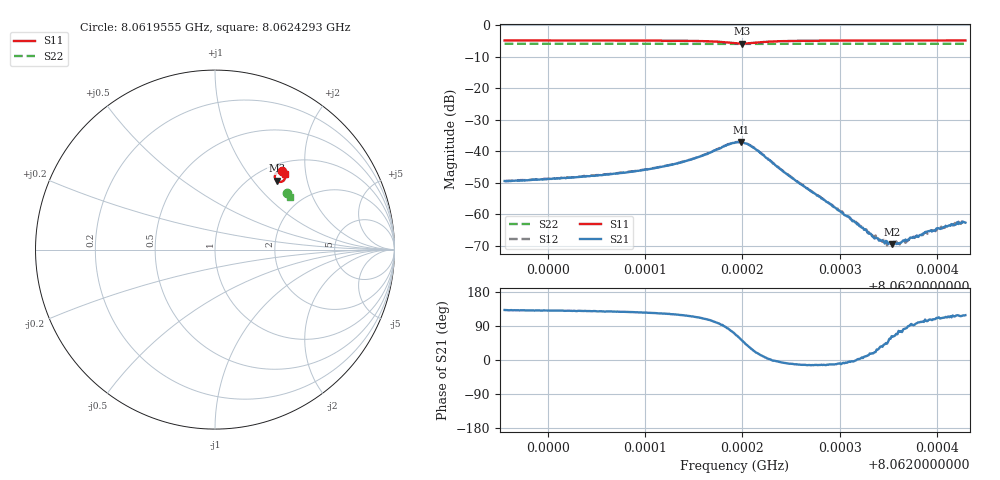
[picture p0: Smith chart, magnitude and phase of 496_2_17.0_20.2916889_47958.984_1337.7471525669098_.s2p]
#  HZ  S  RI  R  50.00
! Rohde & Schwarz Vector Network Analyzer
! Rohde-Schwarz,ZNB20-2Port,1311601062101988,3.16
! Created: UTC 3/20/2024, 11:14:18 PM
! freq[Hz]  re:S11  im:S11  re:S21  im:S21  re:S12  im:S12  re:S22  im:S22
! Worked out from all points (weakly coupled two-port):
!   401 points, 8.0619555 GHz to 8.0624293 GHz, reference 50 ohm
!   highest |S21| = -37.05 dB at 8.0621983 GHz (marker M1); lowest = -69.6 dB at 8.0623535 GHz (marker M2)
!   lowest |S11| = -5.8 dB at 8.0621995 GHz (marker M3), VSWR 3.12, Z = 63.6 + j66.4 ohm
!   |S11| at or under -10 dB: nowhere
!   |S22| runs from -5.9 to -5.8 dB; largest |S21 - S12| = 0.00093
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8.06195546e9  0.374 0.4382  -0.00226 0.00251  -0.00208 0.00266  0.4023 0.3141
8.06203483e9  0.3803 0.4322  -0.00251 0.00307  -0.00233 0.00325  0.4051 0.3099
8.06207866e9  0.3842 0.4275  -0.00276 0.00365  -0.00259 0.00385  0.4067 0.3078
8.0621142e9  0.388 0.4217  -0.00303 0.00466  -0.00281 0.00487  0.4081 0.3056
8.06214973e9  0.3917 0.4098  -0.00315 0.00693  -0.00277 0.00718  0.4092 0.3034
8.06219238e9  0.3604 0.377  0.00504 0.0127  0.00577 0.0127  0.4088 0.3003
8.0621983e9  0.3466 0.3817  0.00812 0.0115  0.00883 0.011  0.4084 0.3004
8.06219949e9  0.3439 0.3834  0.00855 0.0109  0.00925 0.0106  0.4086 0.3005
8.06220659e9  0.3341 0.3984  0.0103 0.00726  0.0109 0.00675  0.4084 0.3011
8.0622137e9  0.3341 0.4139  0.0101 0.00372  0.0105 0.00318  0.4091 0.3013
8.06224332e9  0.3579 0.4352  0.00458 -0.000634  0.00459 -0.000888  0.4112 0.3004
8.06227175e9  0.3701 0.4349  0.00219 -0.000516  0.00219 -0.000662  0.4129 0.299
8.06230965e9  0.3784 0.4318  0.000895 -6.3e-05  0.000904 -0.000136  0.4143 0.297
8.06233572e9  0.382 0.4297  0.000388 0.000145  0.000416 0.000118  0.4154 0.2956
8.06235112e9  0.3837 0.4285  0.000198 0.000293  0.000252 0.000252  0.4159 0.2947
8.06235348e9  0.3841 0.4284  0.000151 0.000296  0.000205 0.000275  0.4159 0.2945
8.06236059e9  0.3848 0.428  7.98e-05 0.00034  0.000131 0.000317  0.4162 0.2943
8.06237007e9  0.3858 0.4273  8.83e-06 0.000393  6.5e-05 0.000373  0.4165 0.2937
8.06237599e9  0.3864 0.4269  -1.44e-05 0.000427  6.97e-06 0.00044  0.4169 0.2935
8.06239021e9  0.3875 0.426  -0.000114 0.000518  -8.54e-05 0.000484  0.4173 0.2926
8.06241271e9  0.3895 0.4244  -0.000258 0.000614  -0.000233 0.000648  0.4181 0.2914
8.0624293e9  0.3907 0.4235  -0.000349 0.000649  -0.000279 0.000673  0.4185 0.2907
